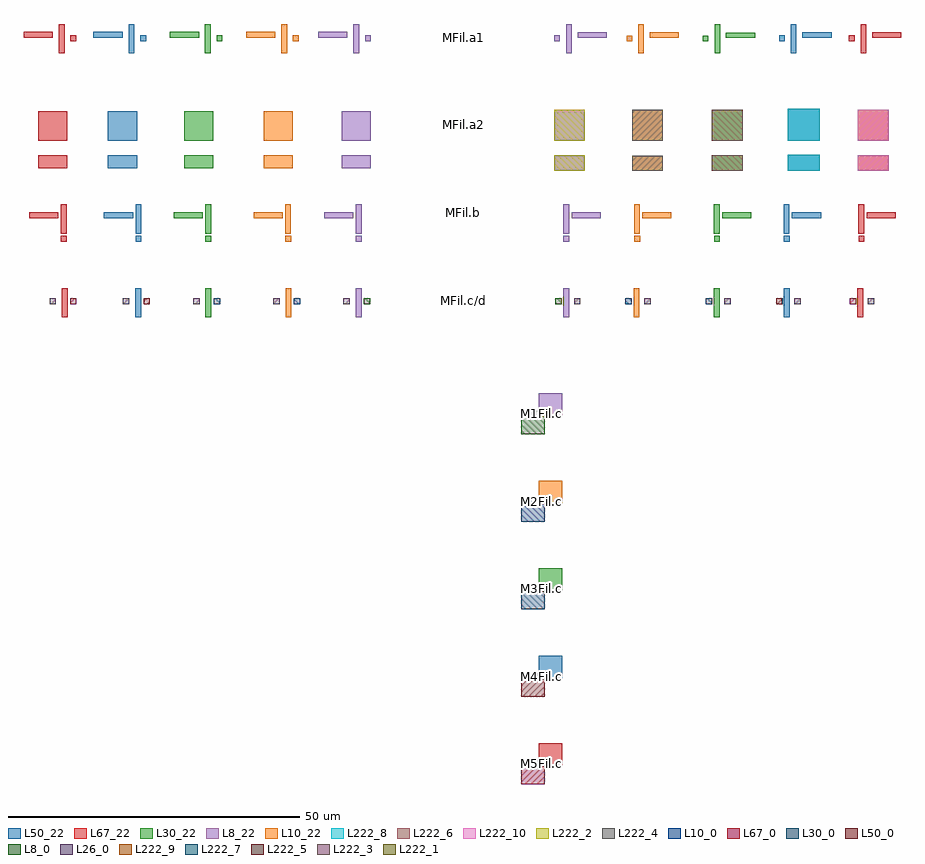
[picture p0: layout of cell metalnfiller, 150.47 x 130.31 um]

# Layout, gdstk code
import gdstk
lib = gdstk.Library(unit=1e-6, precision=1e-09)
def R(c, l, rs):  # rectangles x0, y0, x1, y1
    for r in rs: c.add(gdstk.rectangle(r[:2], r[2:], *l))
L8_0 = (8, 0)
L8_22 = (8, 22)
L10_0 = (10, 0)
L10_22 = (10, 22)
L26_0 = (26, 0)
L30_0 = (30, 0)
L30_22 = (30, 22)
L50_0 = (50, 0)
L50_22 = (50, 22)
L67_0 = (67, 0)
L67_22 = (67, 22)
L222_1 = (222, 1)
L222_2 = (222, 2)
L222_3 = (222, 3)
L222_4 = (222, 4)
L222_5 = (222, 5)
L222_6 = (222, 6)
L222_7 = (222, 7)
L222_8 = (222, 8)
L222_9 = (222, 9)
L222_10 = (222, 10)

metalnfiller = lib.new_cell('metalnfiller')
R(metalnfiller, L8_0, [(10,-75.315,14,-71.315), (-17,-53.05,-15.9,-52.05), (15.795,-53.05,16.895,-52.05)])
R(metalnfiller, L8_22, [(13,-72.315,17,-68.315), (-18.42,-55.315,-17.42,-50.315), (17.205,-55.315,18.205,-50.315), (-18.415,-42.355,-17.415,-41.355), (17.205,-42.345,18.205,-41.345), (-18.42,-40.935,-17.42,-35.935), (17.205,-40.935,18.205,-35.935), (-23.84,-38.305,-18.84,-37.305), (18.615,-38.305,23.615,-37.305), (15.605,-30.135,20.87,-27.555), (-20.82,-29.775,-15.82,-27.525), (-20.82,-24.995,-15.82,-19.995), (15.605,-24.995,20.87,-19.73), (-18.82,-10.01,-17.82,-5.01), (17.645,-10.01,18.605,-5.01), (-16.82,-7.94,-15.82,-6.94), (15.615,-7.94,16.605,-6.95), (-24.825,-7.38,-19.825,-6.38), (19.61,-7.38,24.61,-6.44)])
R(metalnfiller, L10_0, [(10,-90.315,14,-86.315), (-29.02,-53.05,-27.92,-52.05), (27.82,-53.05,28.92,-52.05)])
R(metalnfiller, L10_22, [(13,-87.315,17,-83.315), (-30.44,-55.315,-29.44,-50.315), (29.225,-55.315,30.225,-50.315), (-30.51,-42.355,-29.51,-41.355), (29.335,-42.345,30.335,-41.345), (-30.515,-40.935,-29.515,-35.935), (29.3,-40.935,30.3,-35.935), (-35.935,-38.305,-30.935,-37.305), (30.71,-38.305,35.71,-37.305), (28.97,-30.14,34.235,-27.57), (-34.185,-29.775,-29.185,-27.525), (-34.185,-24.995,-29.185,-19.995), (28.97,-24.995,34.235,-19.73), (-31.19,-10.01,-30.19,-5.01), (30.025,-10.01,30.975,-5.01), (-29.19,-7.94,-28.19,-6.94), (28.025,-7.94,28.975,-6.99), (-37.195,-7.38,-32.195,-6.38), (31.98,-7.38,36.98,-6.43)])
R(metalnfiller, L26_0, [(-70.91,-53.05,-69.81,-52.05), (-58.32,-53.05,-57.22,-52.05), (-46.295,-53.05,-45.195,-52.05), (-32.54,-53.05,-31.44,-52.05), (-20.52,-53.05,-19.42,-52.05), (19.015,-53.05,20.115,-52.05), (31.075,-53.05,32.175,-52.05), (44.77,-53.05,45.87,-52.05), (56.815,-53.05,57.915,-52.05), (69.385,-53.05,70.485,-52.05)])
R(metalnfiller, L30_0, [(10,-105.315,14,-101.315), (-42.775,-53.05,-41.675,-52.05), (41.595,-53.05,42.695,-52.05)])
R(metalnfiller, L30_22, [(13,-102.315,17,-98.315), (-44.195,-55.315,-43.195,-50.315), (42.98,-55.315,43.98,-50.315), (-44.185,-42.355,-43.185,-41.355), (43.035,-42.345,44.035,-41.345), (-44.19,-40.935,-43.19,-35.935), (42.975,-40.935,43.975,-35.935), (-49.61,-38.305,-44.61,-37.305), (44.385,-38.305,49.385,-37.305), (42.635,-30.14,47.95,-27.52), (-47.85,-29.775,-42.85,-27.525), (-47.85,-24.995,-42.85,-19.995), (42.635,-24.995,47.95,-19.68), (-44.28,-10.01,-43.28,-5.01), (43.125,-10.01,44.065,-5.01), (-42.28,-7.94,-41.28,-6.94), (41.125,-7.94,42.065,-7), (-50.285,-7.38,-45.285,-6.38), (45.07,-7.38,50.07,-6.48)])
R(metalnfiller, L50_0, [(10,-120.315,14,-116.315), (-54.8,-53.05,-53.7,-52.05), (53.655,-53.05,54.755,-52.05)])
R(metalnfiller, L50_22, [(13,-117.315,17,-113.315), (-56.22,-55.315,-55.22,-50.315), (55.005,-55.315,56.005,-50.315), (-56.16,-42.355,-55.16,-41.355), (55.01,-42.345,56.01,-41.345), (-56.165,-40.935,-55.165,-35.935), (54.95,-40.935,55.95,-35.935), (-61.585,-38.305,-56.585,-37.305), (56.36,-38.305,61.36,-37.305), (55.7,-30.14,61.125,-27.41), (-60.915,-29.775,-55.915,-27.525), (-60.915,-24.995,-55.915,-19.995), (55.7,-24.995,61.125,-19.57), (-57.37,-10.01,-56.37,-5.01), (56.195,-10.01,57.155,-5.01), (-55.37,-7.94,-54.37,-6.94), (54.185,-7.94,55.155,-6.97), (-63.375,-7.38,-58.375,-6.38), (58.16,-7.38,63.16,-6.435)])
R(metalnfiller, L67_0, [(10,-135.315,14,-131.315), (-67.39,-53.05,-66.29,-52.05), (66.265,-53.05,67.365,-52.05)])
R(metalnfiller, L67_22, [(13,-132.315,17,-128.315), (-68.81,-55.315,-67.81,-50.315), (67.595,-55.315,68.595,-50.315), (-68.985,-42.355,-67.985,-41.355), (67.795,-42.345,68.795,-41.345), (-68.99,-40.935,-67.99,-35.935), (67.775,-40.935,68.775,-35.935), (-74.41,-38.305,-69.41,-37.305), (69.185,-38.305,74.185,-37.305), (67.625,-30.14,72.94,-27.52), (-72.84,-29.775,-67.84,-27.525), (-72.84,-24.995,-67.84,-19.995), (67.625,-24.995,72.94,-19.68), (-69.335,-10.01,-68.335,-5.01), (68.195,-10.01,69.12,-5.01), (-67.335,-7.94,-66.335,-6.94), (66.15,-7.94,67.12,-6.97), (-75.34,-7.38,-70.34,-6.38), (70.125,-7.38,75.125,-6.465)])
R(metalnfiller, L222_1, [(13,-72.315,14,-71.315), (17.2,-53.333,17.21,-51.767), (16.89,-53.05,16.9,-52.05)])
R(metalnfiller, L222_2, [(15.605,-30.135,20.87,-27.555), (15.605,-24.995,20.87,-19.73)])
R(metalnfiller, L222_3, [(13,-87.315,14,-86.315), (29.22,-53.339,29.23,-51.761), (28.915,-53.05,28.925,-52.05)])
R(metalnfiller, L222_4, [(28.97,-30.14,34.235,-27.57), (28.97,-24.995,34.235,-19.73)])
R(metalnfiller, L222_5, [(13,-102.315,14,-101.315), (42.975,-53.359,42.985,-51.741), (42.69,-53.05,42.7,-52.05)])
R(metalnfiller, L222_6, [(42.635,-30.14,47.95,-27.52), (42.635,-24.995,47.95,-19.68)])
R(metalnfiller, L222_7, [(13,-117.315,14,-116.315), (55,-53.387,55.01,-51.713), (54.75,-53.05,54.76,-52.05)])
R(metalnfiller, L222_8, [(55.7,-30.14,61.125,-27.41), (55.7,-24.995,61.125,-19.57)])
R(metalnfiller, L222_9, [(13,-132.315,14,-131.315), (67.59,-53.401,67.6,-51.699), (67.36,-53.05,67.37,-52.05)])
R(metalnfiller, L222_10, [(67.625,-30.14,72.94,-27.52), (67.625,-24.995,72.94,-19.68)])
metalnfiller.add(gdstk.Label('MFil.a2', (0,-22.245), layer=63, texttype=0))
metalnfiller.add(gdstk.Label('MFil.a1', (0.005,-7.255), layer=63, texttype=0))
metalnfiller.add(gdstk.Label('MFil.b', (0,-37.27), layer=63, texttype=0))
metalnfiller.add(gdstk.Label('MFil.c/d', (0,-52.445), layer=63, texttype=0))
metalnfiller.add(gdstk.Label('PASS', (-12,5), layer=63, texttype=0))
metalnfiller.add(gdstk.Label('FAIL', (12,5), layer=63, texttype=0))
metalnfiller.add(gdstk.Label('5.18 Metaln:filler', (0,21), layer=63, texttype=0))
metalnfiller.add(gdstk.Label('M1Fil.c', (13.5,-71.815), layer=63, texttype=0))
metalnfiller.add(gdstk.Label('M2Fil.c', (13.5,-86.815), layer=63, texttype=0))
metalnfiller.add(gdstk.Label('M3Fil.c', (13.5,-101.815), layer=63, texttype=0))
metalnfiller.add(gdstk.Label('M4Fil.c', (13.5,-116.815), layer=63, texttype=0))
metalnfiller.add(gdstk.Label('M5Fil.c', (13.5,-131.815), layer=63, texttype=0))

lib.write_gds('metalnfiller.gds')
